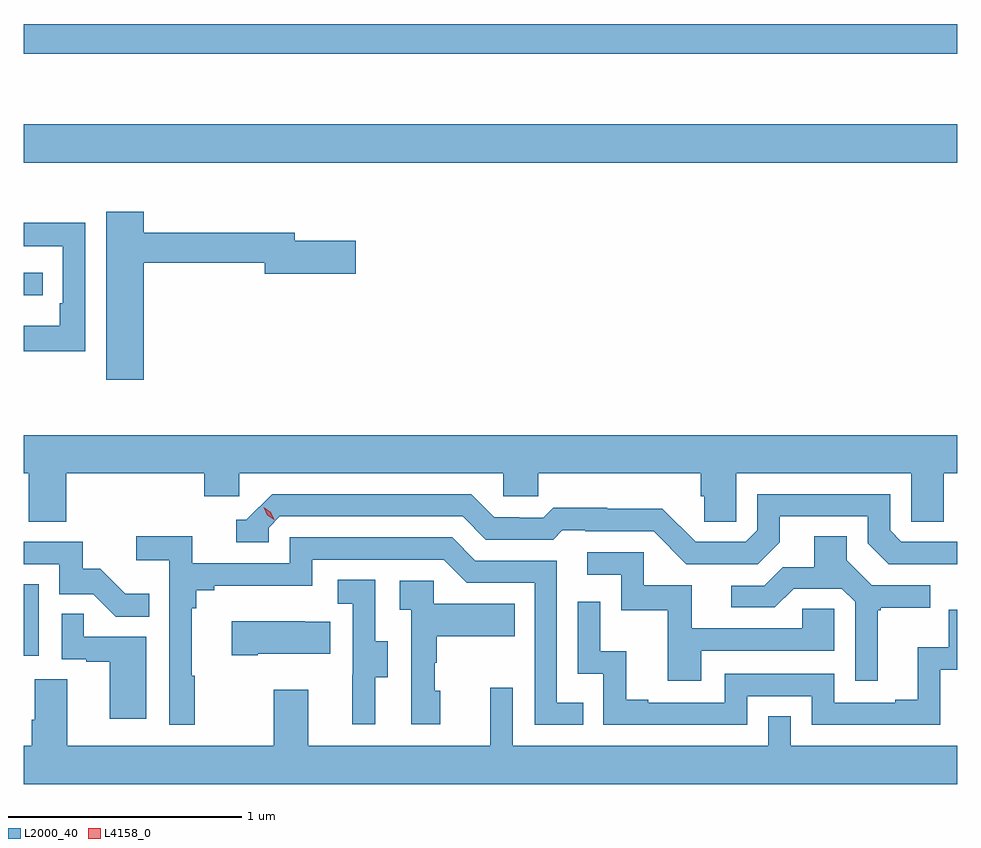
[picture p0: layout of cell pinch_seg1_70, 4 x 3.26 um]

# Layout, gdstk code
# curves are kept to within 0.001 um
import gdstk
lib = gdstk.Library(unit=1e-6, precision=1e-09)
def R(c, l, rs):  # rectangles x0, y0, x1, y1
    for r in rs: c.add(gdstk.rectangle(r[:2], r[2:], *l))
def P(c, l, *ps):  # polygons
    for p in ps: c.add(gdstk.Polygon(p, *l))
L2000_40 = (2000, 40)
L4158_0 = (4158, 0)

pinch_seg1_70 = lib.new_cell('pinch_seg1_70')
R(pinch_seg1_70, L2000_40, [(1043.209,580.254,1043.272,580.561), (1043.209,581.799,1043.29,581.895), (1043.209,582.368,1047.209,582.532), (1043.209,582.834,1047.209,582.962)])
P(pinch_seg1_70, L2000_40, [(1043.722,581.938),(1044.242,581.938),(1044.242,581.891),(1044.631,581.891),(1044.631,582.033),(1044.37,582.033),(1044.37,582.067),(1043.722,582.067),(1043.722,582.157),(1043.561,582.157),(1043.561,581.436),(1043.722,581.436)],
  [(1043.472,582.11),(1043.209,582.11),(1043.209,582.009),(1043.376,582.009),(1043.376,581.764),(1043.363,581.764),(1043.363,581.668),(1043.209,581.668),(1043.209,581.559),(1043.472,581.559)],
  [(1043.39,581.036),(1043.981,581.036),(1043.981,580.938),(1044.132,580.938),(1044.132,581.036),(1045.263,581.036),(1045.263,580.938),(1045.413,580.938),(1045.413,581.036),(1046.111,581.036),(1046.111,580.938),(1046.125,580.938),(1046.125,580.828),(1046.262,580.828),(1046.262,581.036),(1047.012,581.036),(1047.012,580.828),(1047.151,580.828),(1047.151,581.036),(1047.209,581.036),(1047.209,581.2),(1043.209,581.2),(1043.209,581.036),(1043.23,581.036),(1043.23,580.828),(1043.39,580.828)],
  [(1047.209,580.743),(1046.97,580.743),(1046.922,580.791),(1046.922,580.947),(1046.352,580.947),(1046.352,580.791),(1046.304,580.743),(1046.088,580.743),(1045.946,580.885),(1045.71,580.885),(1045.71,580.888),(1045.477,580.888),(1045.435,580.845),(1045.332,580.845),(1045.332,580.848),(1045.225,580.848),(1045.126,580.947),(1044.273,580.947),(1044.162,580.836),(1044.119,580.836),(1044.119,580.74),(1044.258,580.74),(1044.258,580.803),(1044.306,580.851),(1045.089,580.851),(1045.188,580.752),(1045.477,580.752),(1045.516,580.791),(1045.615,580.791),(1045.615,580.788),(1045.908,580.788),(1046.049,580.647),(1046.355,580.647),(1046.449,580.741),(1046.449,580.851),(1046.826,580.851),(1046.826,580.737),(1046.916,580.647),(1047.209,580.646)],
  [(1043.941,580.169),(1043.929,580.169),(1043.929,580.457),(1043.948,580.457),(1043.948,580.534),(1044.025,580.534),(1044.025,580.553),(1044.444,580.553),(1044.444,580.665),(1045.008,580.665),(1045.107,580.566),(1045.398,580.566),(1045.398,579.957),(1045.607,579.957),(1045.607,580.053),(1045.494,580.053),(1045.494,580.662),(1045.144,580.662),(1045.045,580.761),(1044.348,580.761),(1044.348,580.65),(1043.93,580.65),(1043.93,580.766),(1043.691,580.766),(1043.691,580.664),(1043.832,580.664),(1043.832,579.957),(1043.941,579.957)],
  [(1046.869,580.449),(1046.881,580.449),(1046.881,580.46),(1047.094,580.46),(1047.094,580.557),(1046.844,580.557),(1046.737,580.664),(1046.737,580.766),(1046.597,580.766),(1046.597,580.634),(1046.462,580.634),(1046.382,580.554),(1046.241,580.554),(1046.241,580.461),(1046.428,580.461),(1046.509,580.542),(1046.715,580.542),(1046.772,580.485),(1046.772,580.146),(1046.869,580.146)],
  [(1043.747,580.519),(1043.643,580.519),(1043.536,580.626),(1043.46,580.626),(1043.46,580.743),(1043.209,580.743),(1043.209,580.647),(1043.361,580.647),(1043.361,580.518),(1043.505,580.518),(1043.603,580.42),(1043.747,580.42)],
  [(1046.113,580.275),(1046.682,580.275),(1046.682,580.455),(1046.545,580.455),(1046.545,580.371),(1046.071,580.371),(1046.071,580.557),(1045.866,580.557),(1045.866,580.698),(1045.623,580.698),(1045.623,580.602),(1045.77,580.602),(1045.77,580.449),(1045.969,580.449),(1045.969,580.146),(1046.113,580.146)],
  [(1044.715,580.162),(1044.769,580.162),(1044.769,580.317),(1044.714,580.317),(1044.714,580.58),(1044.555,580.58),(1044.555,580.477),(1044.618,580.477),(1044.618,580.173),(1044.617,580.173),(1044.617,579.96),(1044.715,579.96)],
  [(1044.994,580.104),(1044.969,580.104),(1044.969,580.223),(1044.978,580.223),(1044.978,580.337),(1045.313,580.337),(1045.313,580.477),(1044.966,580.477),(1044.966,580.575),(1044.819,580.575),(1044.819,580.451),(1044.87,580.451),(1044.87,579.96),(1044.994,579.96)],
  [(1046.31,580.08),(1046.586,580.08),(1046.586,579.957),(1047.138,579.957),(1047.138,580.193),(1047.209,580.193),(1047.209,580.452),(1047.174,580.452),(1047.174,580.291),(1047.041,580.291),(1047.041,580.066),(1046.945,580.066),(1046.945,580.053),(1046.682,580.053),(1046.682,580.176),(1046.214,580.176),(1046.214,580.053),(1045.885,580.053),(1045.885,580.066),(1045.79,580.066),(1045.79,580.274),(1045.68,580.274),(1045.68,580.486),(1045.584,580.486),(1045.584,580.176),(1045.692,580.176),(1045.692,579.957),(1046.31,579.957)],
  [(1043.734,580.335),(1043.465,580.335),(1043.465,580.433),(1043.37,580.433),(1043.37,580.239),(1043.477,580.239),(1043.477,580.227),(1043.576,580.227),(1043.576,579.984),(1043.734,579.984)],
  [(1044.211,580.262),(1044.521,580.262),(1044.521,580.399),(1044.413,580.399),(1044.413,580.402),(1044.099,580.402),(1044.099,580.255),(1044.211,580.255)],
  [(1047.209,579.868),(1046.496,579.868),(1046.496,579.995),(1046.4,579.995),(1046.4,579.868),(1045.305,579.868),(1045.305,580.117),(1045.208,580.117),(1045.208,579.868),(1044.427,579.868),(1044.427,580.108),(1044.28,580.108),(1044.28,579.868),(1043.395,579.868),(1043.395,580.154),(1043.255,580.154),(1043.255,579.98),(1043.243,579.98),(1043.243,579.868),(1043.209,579.868),(1043.209,579.704),(1047.209,579.704)])
P(pinch_seg1_70, L4158_0, [(1044.282,580.837),(1044.252,580.857),(1044.236,580.89),(1044.236,580.89),(1044.236,580.89),(1044.267,580.87),(1044.282,580.837),(1044.282,580.837)])

lib.write_gds('pinch_seg1_70.gds')
